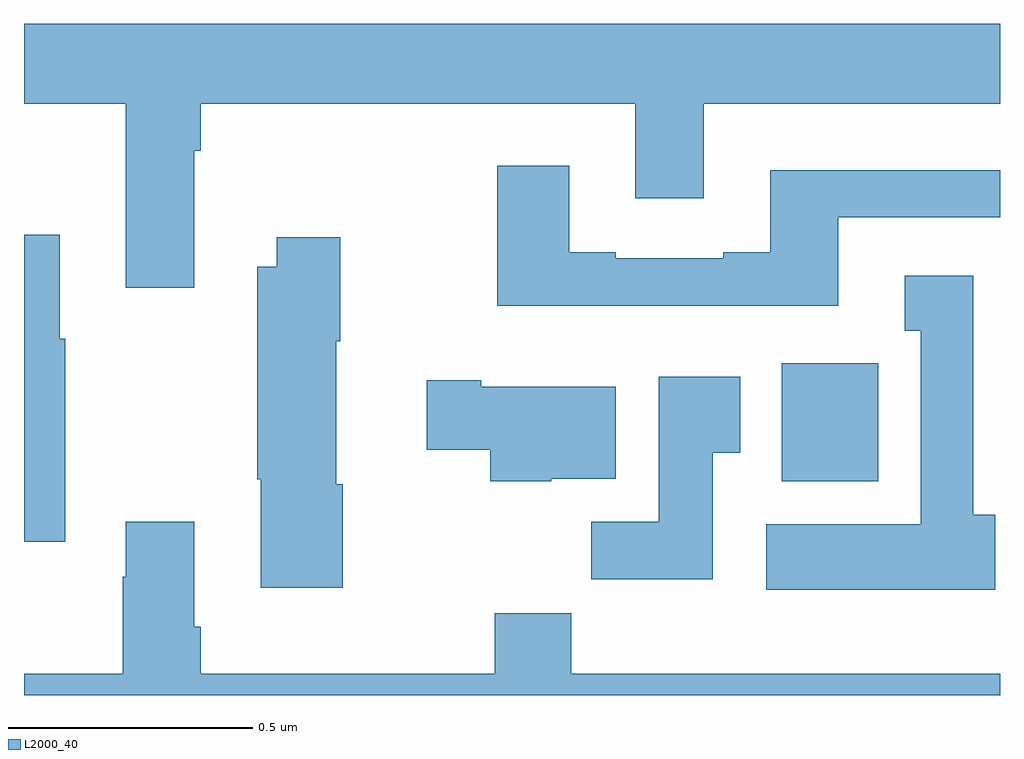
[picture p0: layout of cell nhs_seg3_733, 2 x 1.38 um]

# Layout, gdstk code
import gdstk
lib = gdstk.Library(unit=1e-6, precision=1e-09)
def R(c, l, rs):  # rectangles x0, y0, x1, y1
    for r in rs: c.add(gdstk.rectangle(r[:2], r[2:], *l))
def P(c, l, *ps):  # polygons
    for p in ps: c.add(gdstk.Polygon(p, *l))
L2000_40 = (2000, 40)

nhs_seg3_733 = lib.new_cell('nhs_seg3_733')
R(nhs_seg3_733, L2000_40, [(121.553,670.838,121.75,671.08)])
P(nhs_seg3_733, L2000_40, [(120.349,671.516),(120.362,671.516),(120.362,671.612),(121.253,671.612),(121.253,671.418),(121.393,671.418),(121.393,671.612),(122,671.612),(122,671.776),(120,671.776),(120,671.612),(120.209,671.612),(120.209,671.235),(120.349,671.235)],
  [(121.669,671.379),(122,671.379),(122,671.476),(121.529,671.476),(121.529,671.308),(121.433,671.308),(121.433,671.295),(121.213,671.295),(121.213,671.308),(121.117,671.308),(121.117,671.485),(120.97,671.485),(120.97,671.198),(121.669,671.198)],
  [(120.085,671.131),(120.073,671.131),(120.073,671.344),(120,671.344),(120,670.715),(120.085,670.715)],
  [(120.653,670.832),(120.64,670.832),(120.64,671.125),(120.648,671.125),(120.648,671.338),(120.518,671.338),(120.518,671.278),(120.478,671.278),(120.478,670.843),(120.485,670.843),(120.485,670.62),(120.653,670.62)],
  [(121.99,670.77),(121.945,670.77),(121.945,671.26),(121.805,671.26),(121.805,671.147),(121.838,671.147),(121.838,670.75),(121.521,670.75),(121.521,670.616),(121.99,670.616)],
  [(121.411,670.897),(121.468,670.897),(121.468,671.053),(121.301,671.053),(121.301,670.756),(121.162,670.756),(121.162,670.638),(121.411,670.638)],
  [(121.08,670.844),(121.213,670.844),(121.213,671.032),(120.937,671.032),(120.937,671.045),(120.825,671.045),(120.825,670.903),(120.955,670.903),(120.955,670.838),(121.08,670.838)],
  [(122,670.444),(121.121,670.444),(121.121,670.568),(120.965,670.568),(120.965,670.444),(120.362,670.444),(120.362,670.54),(120.349,670.54),(120.349,670.756),(120.209,670.756),(120.209,670.643),(120.202,670.643),(120.202,670.444),(120,670.444),(120,670.4),(122,670.4)])

lib.write_gds('nhs_seg3_733.gds')
